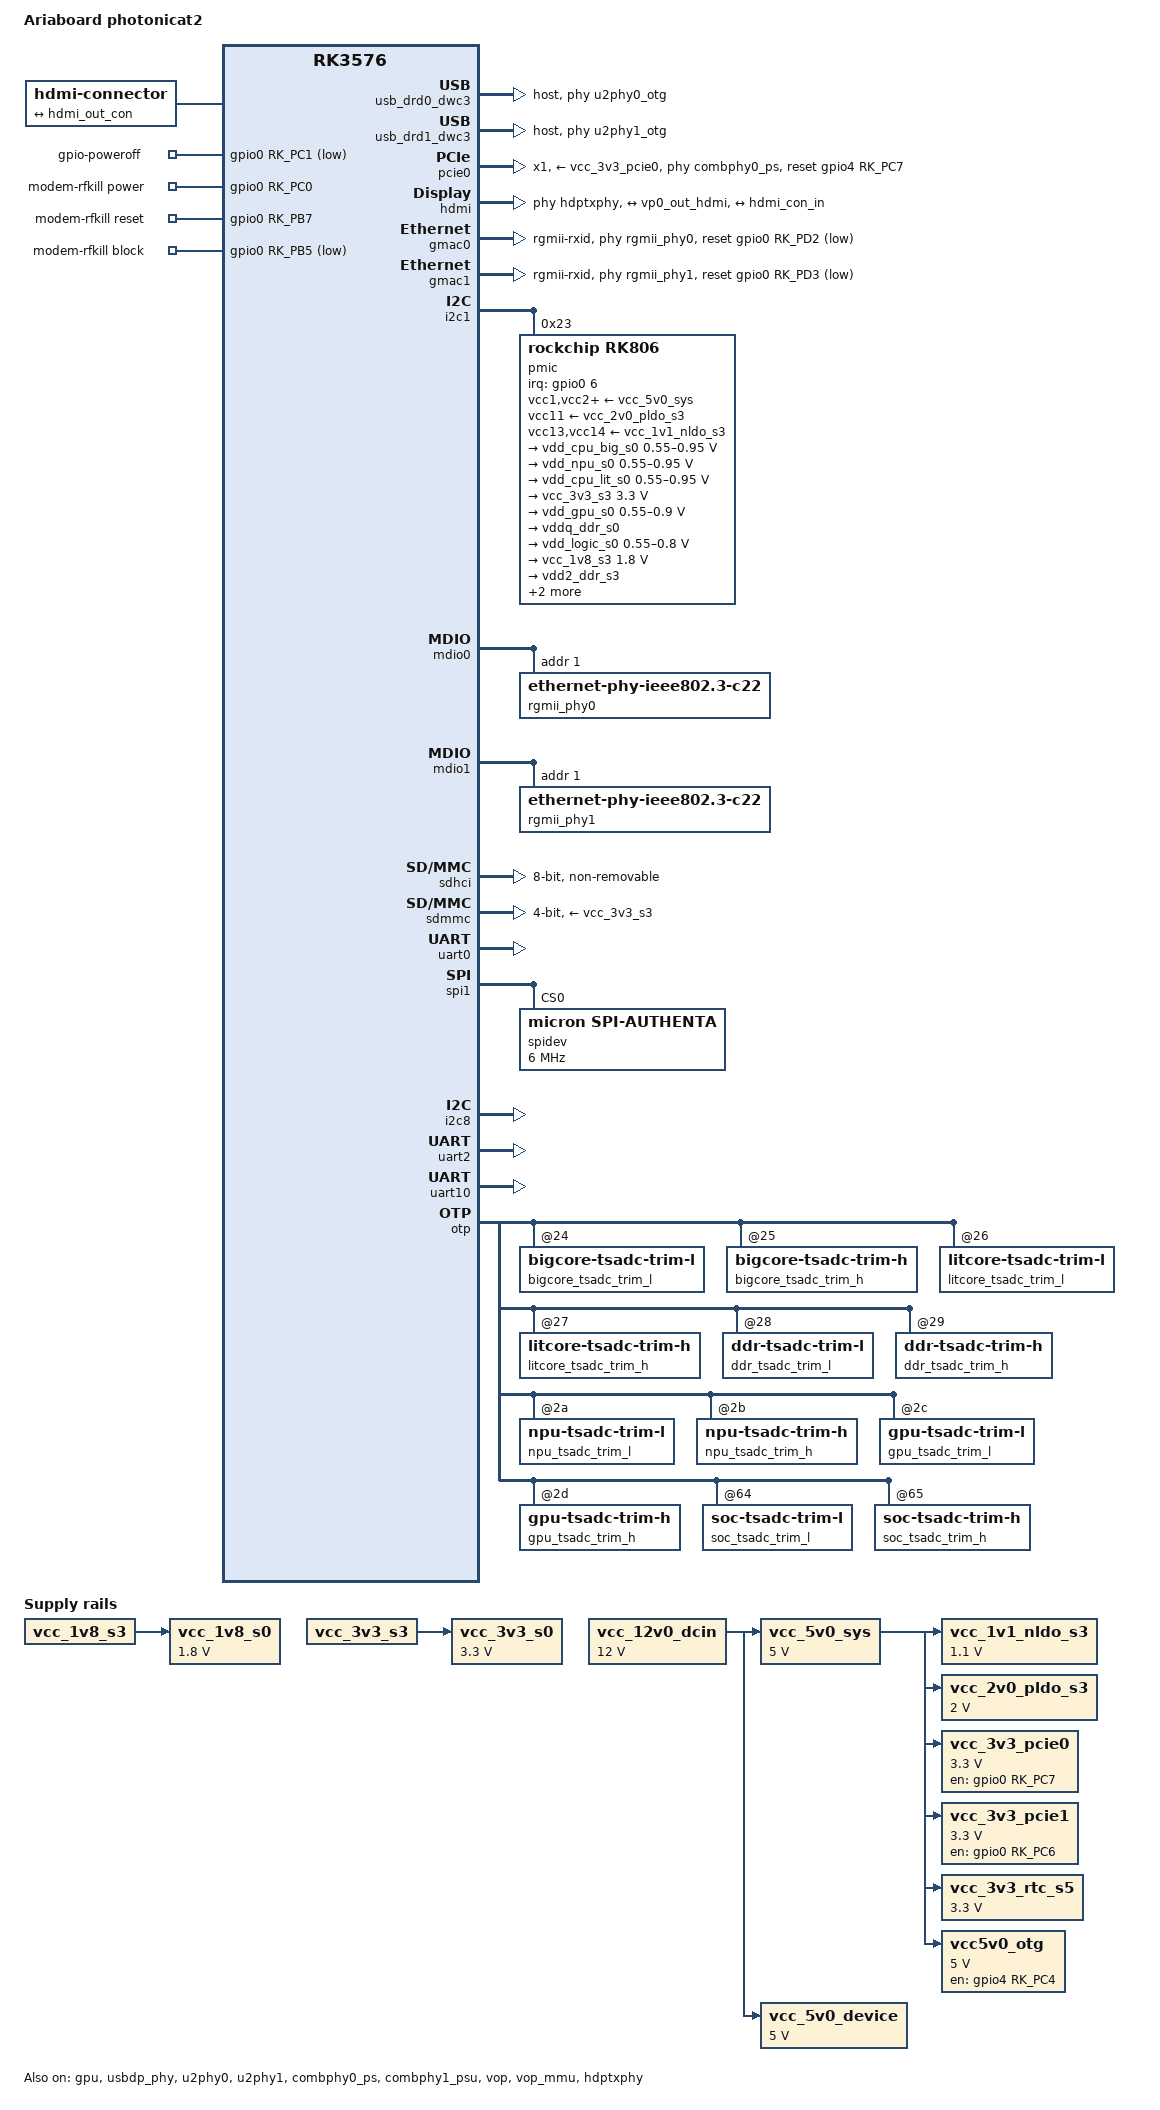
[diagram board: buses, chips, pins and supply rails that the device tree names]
// SPDX-License-Identifier: (GPL-2.0+ OR MIT)
/*
 * Copyright (c) 2024 Rockchip Electronics Co., Ltd.
 *
 */

/dts-v1/;

#include <dt-bindings/gpio/gpio.h>
#include <dt-bindings/leds/common.h>
#include <dt-bindings/pinctrl/rockchip.h>
#include <dt-bindings/pwm/pwm.h>
#include <dt-bindings/usb/pd.h>
#include <dt-bindings/thermal/thermal.h>
#include <dt-bindings/soc/rockchip,vop2.h>
#include "rk3576.dtsi"

/ {
	model = "Ariaboard photonicat2";
	compatible = "ariaboard,photonicat2", "rockchip,rk3576";

	aliases {
		ethernet0 = &gmac0;
		ethernet1 = &gmac1;
		mmc0 = &sdhci;
		mmc1 = &sdmmc;
	};

	chosen {
		stdout-path = "serial0:1500000n8";
	};

	vcc_12v0_dcin: regulator-vcc-12v0-dcin {
		compatible = "regulator-fixed";
		regulator-name = "vcc_12v0_dcin";
		regulator-always-on;
		regulator-boot-on;
		regulator-min-microvolt = <12000000>;
		regulator-max-microvolt = <12000000>;
	};

	vcc_1v1_nldo_s3: regulator-vcc-1v1-nldo-s3 {
		compatible = "regulator-fixed";
		regulator-name = "vcc_1v1_nldo_s3";
		regulator-boot-on;
		regulator-always-on;
		regulator-min-microvolt = <1100000>;
		regulator-max-microvolt = <1100000>;
		vin-supply = <&vcc_5v0_sys>;
	};

	vcc_1v8_s0: regulator-vcc-1v8-s0 {
		compatible = "regulator-fixed";
		regulator-name = "vcc_1v8_s0";
		regulator-boot-on;
		regulator-always-on;
		regulator-min-microvolt = <1800000>;
		regulator-max-microvolt = <1800000>;
		vin-supply = <&vcc_1v8_s3>;
	};

	vcc_2v0_pldo_s3: regulator-vcc-2v0-pldo-s3 {
		compatible = "regulator-fixed";
		regulator-name = "vcc_2v0_pldo_s3";
		regulator-boot-on;
		regulator-always-on;
		regulator-min-microvolt = <2000000>;
		regulator-max-microvolt = <2000000>;
		vin-supply = <&vcc_5v0_sys>;
	};

	vcc_3v3_pcie0: regulator-vcc-3v3-pcie0 {
		compatible = "regulator-fixed";
		regulator-name = "vcc_3v3_pcie0";
		regulator-min-microvolt = <3300000>;
		regulator-max-microvolt = <3300000>;
		enable-active-high;
		gpio = <&gpio0 RK_PC7 GPIO_ACTIVE_HIGH>;
		startup-delay-us = <5000>;
		vin-supply = <&vcc_5v0_sys>;
	};

	vcc_3v3_pcie1: regulator-vcc-3v3-pcie1 {
		compatible = "regulator-fixed";
		regulator-name = "vcc_3v3_pcie1";
		regulator-min-microvolt = <3300000>;
		regulator-max-microvolt = <3300000>;
		enable-active-high;
		gpio = <&gpio0 RK_PC6 GPIO_ACTIVE_HIGH>;
		startup-delay-us = <5000>;
		vin-supply = <&vcc_5v0_sys>;
        };

	vcc_3v3_rtc_s5: regulator-vcc-3v3-rtc-s5 {
		compatible = "regulator-fixed";
		regulator-name = "vcc_3v3_rtc_s5";
		regulator-boot-on;
		regulator-always-on;
		regulator-min-microvolt = <3300000>;
		regulator-max-microvolt = <3300000>;
		vin-supply = <&vcc_5v0_sys>;
	};

	vcc_3v3_s0: regulator-vcc-3v3-s0 {
		compatible = "regulator-fixed";
		regulator-name = "vcc_3v3_s0";
		regulator-boot-on;
		regulator-always-on;
		regulator-min-microvolt = <3300000>;
		regulator-max-microvolt = <3300000>;
		vin-supply = <&vcc_3v3_s3>;
	};

	vcc_5v0_sys: regulator-vcc-5v0-sys {
		compatible = "regulator-fixed";
		regulator-name = "vcc_5v0_sys";
		regulator-always-on;
		regulator-boot-on;
		regulator-min-microvolt = <5000000>;
		regulator-max-microvolt = <5000000>;
		vin-supply = <&vcc_12v0_dcin>;
	};

	vcc_5v0_device: regulator-vcc-5v0-device {
		compatible = "regulator-fixed";
		regulator-name = "vcc_5v0_device";
		regulator-always-on;
		regulator-boot-on;
		regulator-min-microvolt = <5000000>;
		regulator-max-microvolt = <5000000>;
		vin-supply = <&vcc_12v0_dcin>;
	};

	vcc5v0_otg: vcc5v0-otg {
		compatible = "regulator-fixed";
		regulator-name = "vcc5v0_otg";
		regulator-boot-on;
		regulator-always-on;
		regulator-min-microvolt = <5000000>;
		regulator-max-microvolt = <5000000>;
		enable-active-high;
		gpio = <&gpio4 RK_PC4 0>;
		vin-supply = <&vcc_5v0_sys>;
		pinctrl-names = "default";
		pinctrl-0 = <&usb_otg_pwren>;
        };

	thermal_zones: thermal-zones {
		/* sensor near the center of the SoC */
		package_thermal: package-thermal {
			polling-delay-passive = <0>;
			polling-delay = <0>;
			thermal-sensors = <&tsadc 0>;

			trips {
				package_crit: package-crit {
					temperature = <115000>;
					hysteresis = <0>;
					type = "critical";
				};
			};
		};

		/* sensor for cluster1 (big Cortex-A72 cores) */
		bigcore_thermal: bigcore-thermal {
			polling-delay-passive = <0>;
			polling-delay = <0>;
			thermal-sensors = <&tsadc 1>;

			trips {
				bigcore_alert: bigcore-alert {
					temperature = <85000>;
					hysteresis = <2000>;
					type = "passive";
				};

				bigcore_crit: bigcore-crit {
					temperature = <115000>;
					hysteresis = <0>;
					type = "critical";
				};
			};

			cooling-maps {
				map0 {
					trip = <&bigcore_alert>;
					cooling-device =
						<&cpu_b0 THERMAL_NO_LIMIT THERMAL_NO_LIMIT>,
						<&cpu_b1 THERMAL_NO_LIMIT THERMAL_NO_LIMIT>,
						<&cpu_b2 THERMAL_NO_LIMIT THERMAL_NO_LIMIT>,
						<&cpu_b3 THERMAL_NO_LIMIT THERMAL_NO_LIMIT>;
				};
			};
		};

		/* sensor for cluster0 (little Cortex-A53 cores) */
		littlecore_thermal: littlecore-thermal {
			polling-delay-passive = <0>;
			polling-delay = <0>;
			thermal-sensors = <&tsadc 2>;

			trips {
				littlecore_alert: littlecore-alert {
					temperature = <85000>;
					hysteresis = <2000>;
					type = "passive";
				};

				littlecore_crit: littlecore-crit {
					temperature = <115000>;
					hysteresis = <0>;
					type = "critical";
				};
			};

			cooling-maps {
				map0 {
					trip = <&littlecore_alert>;
					cooling-device =
						<&cpu_l0 THERMAL_NO_LIMIT THERMAL_NO_LIMIT>,
						<&cpu_l1 THERMAL_NO_LIMIT THERMAL_NO_LIMIT>,
						<&cpu_l2 THERMAL_NO_LIMIT THERMAL_NO_LIMIT>,
						<&cpu_l3 THERMAL_NO_LIMIT THERMAL_NO_LIMIT>;
				};
			};
		};

		gpu_thermal: gpu-thermal {
			polling-delay-passive = <0>;
			polling-delay = <0>;
			thermal-sensors = <&tsadc 3>;

			trips {
				gpu_alert: gpu-alert {
					temperature = <85000>;
					hysteresis = <2000>;
					type = "passive";
				};

				gpu_crit: gpu-crit {
					temperature = <115000>;
					hysteresis = <0>;
					type = "critical";
				};
			};

			cooling-maps {
				map0 {
					trip = <&gpu_alert>;
					cooling-device =
						<&gpu THERMAL_NO_LIMIT THERMAL_NO_LIMIT>;
				};
			};
		};

		npu_thermal: npu-thermal {
			polling-delay-passive = <0>;
			polling-delay = <0>;
			thermal-sensors = <&tsadc 4>;

			trips {
				npu_crit: npu-crit {
					temperature = <115000>;
					hysteresis = <0>;
					type = "critical";
				};
			};
		};

		ddr_thermal: ddr-thermal {
			polling-delay-passive = <0>;
			polling-delay = <0>;
			thermal-sensors = <&tsadc 5>;

			trips {
				ddr_crit: ddr-crit {
					temperature = <115000>;
					hysteresis = <0>;
					type = "critical";
				};
			};
		};
	};

	display_subsystem: display-subsystem {
		compatible = "rockchip,display-subsystem";
		ports = <&vop_out>;
	};

	hdmi-con {
		compatible = "hdmi-connector";
		type = "a";

		port {
			hdmi_con_in: endpoint {
				remote-endpoint = <&hdmi_out_con>;
			};
		};
	};

	gpio-poweroff {
		compatible = "gpio-poweroff";
		gpios = <&gpio0 RK_PC1 GPIO_ACTIVE_LOW>;
		timeout-ms = <3000>;
	};

	modem-rfkill {
		compatible = "rfkill-gpio-neo";
		name = "modem-rfkill";
		type = "wwan";
		power-gpio = <&gpio0 RK_PC0 GPIO_ACTIVE_HIGH>;
		reset-gpio = <&gpio0 RK_PB7 GPIO_ACTIVE_HIGH>;
		block-gpio = <&gpio0 RK_PB5 GPIO_ACTIVE_LOW>;
		power-on-wait-time = <500>;
		reset-wait-time = <0>;
		reset-active-time = <800>;
        };

	soc {
		vo1_grf: syscon@26036000 {
			compatible = "rockchip,rk3576-vo-grf", "syscon";
			reg = <0x0 0x26036000 0x0 0x100>;
			clocks = <&cru PCLK_VO1_ROOT>;
		};
		
		hdptxphy_grf: syscon@26032000 {
			compatible = "rockchip,rk3576-hdptxphy-grf", "syscon";
			reg = <0x0 0x26032000 0x0 0x100>;
			clocks = <&cru PCLK_PMUPHY_ROOT>;
		};

		usbdp_phy: phy@2b010000 {
			compatible = "rockchip,rk3576-usbdp-phy";
			reg = <0x0 0x2b010000 0x0 0x10000>;
			#phy-cells = <1>;
			clocks = <&cru CLK_PHY_REF_SRC >,
				 <&cru CLK_USBDP_COMBO_PHY_IMMORTAL>,
				 <&cru PCLK_USBDPPHY>,
				 <&u2phy0>;
			clock-names = "refclk", "immortal", "pclk", "utmi";
			resets = <&cru SRST_USBDP_COMBO_PHY_INIT>,
				 <&cru SRST_USBDP_COMBO_PHY_CMN>,
				 <&cru SRST_USBDP_COMBO_PHY_LANE>,
				 <&cru SRST_USBDP_COMBO_PHY_PCS>,
				 <&cru SRST_P_USBDPPHY>;
			reset-names = "init", "cmn", "lane", "pcs_apb", "pma_apb";
			rockchip,u2phy-grf = <&usb2phy_grf>;
			rockchip,usb-grf = <&usb_grf>;
			rockchip,usbdpphy-grf = <&usbdpphy_grf>;
			rockchip,vo-grf = <&vo1_grf>;
			status = "disabled";
		};	

		usb2phy_grf: syscon@2602e000 {
			compatible = "rockchip,rk3576-usb2phy-grf", "syscon", "simple-mfd";
			reg = <0x0 0x2602e000 0x0 0x4000>;
			#address-cells = <1>;
			#size-cells = <1>;
			clocks = <&cru PCLK_PMUPHY_ROOT>;

			u2phy0: usb2-phy@0 {
				compatible = "rockchip,rk3576-usb2phy";
				reg = <0x0 0x10>;
				resets = <&cru SRST_OTGPHY_0>, <&cru SRST_P_USBPHY_GRF_0>;
				reset-names = "phy", "apb";
				clocks = <&cru CLK_PHY_REF_SRC>, <&cru ACLK_MMU2>, <&cru ACLK_SLV_MMU2>;
				clock-names = "phyclk", "aclk", "aclk_slv";
				clock-output-names = "usb480m_phy0";
				#clock-cells = <0>;
				rockchip,usbctrl-grf = <&usb_grf>;
				status = "disabled";

				u2phy0_otg: otg-port {
					#phy-cells = <0>;
					interrupts = <GIC_SPI 350 IRQ_TYPE_LEVEL_HIGH>,
						     <GIC_SPI 351 IRQ_TYPE_LEVEL_HIGH>,
						     <GIC_SPI 352 IRQ_TYPE_LEVEL_HIGH>;
					interrupt-names = "otg-bvalid", "otg-id", "linestate";
					status = "disabled";
				};
			};

			u2phy1: usb2-phy@2000 {
				compatible = "rockchip,rk3576-usb2phy";
				reg = <0x2000 0x10>;
				resets = <&cru SRST_OTGPHY_1>, <&cru SRST_P_USBPHY_GRF_1>;
				reset-names = "phy", "apb";
				clocks = <&cru CLK_PHY_REF_SRC>, <&cru ACLK_MMU1>, <&cru ACLK_SLV_MMU1>;
				clock-names = "phyclk", "aclk", "aclk_slv";
				clock-output-names = "usb480m_phy1";
				#clock-cells = <0>;
				rockchip,usbctrl-grf = <&php_grf>;
				status = "disabled";

				u2phy1_otg: otg-port {
					#phy-cells = <0>;
					interrupts = <GIC_SPI 354 IRQ_TYPE_LEVEL_HIGH>,
						     <GIC_SPI 355 IRQ_TYPE_LEVEL_HIGH>,
						     <GIC_SPI 356 IRQ_TYPE_LEVEL_HIGH>;
					interrupt-names = "otg-bvalid", "otg-id", "linestate";
					status = "disabled";
				};
			};
		};

		usb_drd0_dwc3: usb@23000000 {
			compatible = "rockchip,rk3576-dwc3", "snps,dwc3";
			reg = <0x0 0x23000000 0x0 0x400000>;
			clocks = <&cru CLK_REF_USB3OTG0>,
				 <&cru CLK_SUSPEND_USB3OTG0>,
				 <&cru ACLK_USB3OTG0>;
			clock-names = "ref", "suspend", "bus_clk";
			interrupts = <GIC_SPI 261 IRQ_TYPE_LEVEL_HIGH>;
			power-domains = <&power RK3576_PD_USB>;
			resets = <&cru SRST_A_USB3OTG0>;
			reset-names = "usb3-otg";
			dr_mode = "otg";
			phys = <&u2phy0_otg>, <&usbdp_phy PHY_TYPE_USB3>;
			phy-names = "usb2-phy", "usb3-phy";
			phy_type = "utmi_wide";
			snps,dis_enblslpm_quirk;
			snps,dis-u1-entry-quirk;
			snps,dis-u2-entry-quirk;
			snps,dis-u2-freeclk-exists-quirk;
			snps,dis-del-phy-power-chg-quirk;
			snps,dis-tx-ipgap-linecheck-quirk;
			snps,parkmode-disable-hs-quirk;
			snps,parkmode-disable-ss-quirk;
			status = "disabled";
		};

		usb_drd1_dwc3: usb@23400000 {
			compatible = "rockchip,rk3576-dwc3", "snps,dwc3";
			reg = <0x0 0x23400000 0x0 0x400000>;
			clocks = <&cru CLK_REF_USB3OTG1>,
				 <&cru CLK_SUSPEND_USB3OTG1>,
				 <&cru ACLK_USB3OTG1>;
			clock-names = "ref", "suspend", "bus_clk";
			interrupts = <GIC_SPI 260 IRQ_TYPE_LEVEL_HIGH>;
			power-domains = <&power RK3576_PD_PHP>;
			resets = <&cru SRST_A_USB3OTG1>;
			reset-names = "usb3-otg";
			dr_mode = "otg";
			phys = <&u2phy1_otg>, <&combphy1_psu PHY_TYPE_USB3>;
			phy-names = "usb2-phy", "usb3-phy";
			phy_type = "utmi_wide";
			snps,dis_enblslpm_quirk;
			snps,dis-u1-entry-quirk;
			snps,dis-u2-entry-quirk;
			snps,dis-u2-freeclk-exists-quirk;
			snps,dis-del-phy-power-chg-quirk;
			snps,dis-tx-ipgap-linecheck-quirk;
			snps,dis_rxdet_inp3_quirk;
			snps,parkmode-disable-hs-quirk;
			snps,parkmode-disable-ss-quirk;
			dma-coherent;
			status = "disabled";
		};	

		combphy0_ps: phy@2b050000 {
			compatible = "rockchip,rk3576-naneng-combphy";
			reg = <0x0 0x2b050000 0x0 0x100>;
			#phy-cells = <1>;
			clocks = <&cru CLK_REF_PCIE0_PHY>,
				 <&cru PCLK_PCIE2_COMBOPHY0>,
				 <&cru PCLK_PCIE0>;
			clock-names = "ref", "apb", "pipe";
			assigned-clocks = <&cru CLK_REF_PCIE0_PHY>;
			assigned-clock-rates = <100000000>;
			resets = <&cru SRST_PCIE0_PIPE_PHY>,
				 <&cru SRST_P_PCIE2_COMBOPHY0>;
			reset-names = "phy", "apb";
			rockchip,pipe-grf = <&php_grf>;
			rockchip,pipe-phy-grf = <&pipe_phy0_grf>;
			status = "disabled";
		};

		combphy1_psu: phy@2b060000 {
			compatible = "rockchip,rk3576-naneng-combphy";
			reg = <0x0 0x2b060000 0x0 0x100>;
			#phy-cells = <1>;
			clocks = <&cru CLK_REF_PCIE1_PHY>,
				 <&cru PCLK_PCIE2_COMBOPHY1>,
				 <&cru PCLK_PCIE1>;
			clock-names = "ref", "apb", "pipe";
			assigned-clocks = <&cru CLK_REF_PCIE1_PHY>;
			assigned-clock-rates = <100000000>;
			resets = <&cru SRST_PCIE1_PIPE_PHY>,
				 <&cru SRST_P_PCIE2_COMBOPHY1>;
			reset-names = "phy", "apb";
			rockchip,pipe-grf = <&php_grf>;
			rockchip,pipe-phy-grf = <&pipe_phy1_grf>;
			status = "disabled";
		};

		pcie0: pcie@2a200000 {
			compatible = "rockchip,rk3576-pcie", "snps,dw-pcie";
			#address-cells = <3>;
			#size-cells = <2>;
			bus-range = <0x0 0xf>;
			clocks = <&cru ACLK_PCIE0_MST>, <&cru ACLK_PCIE0_SLV>,
				 <&cru ACLK_PCIE0_DBI>, <&cru PCLK_PCIE0>,
				 <&cru CLK_PCIE0_AUX>;

			clock-names = "aclk_mst", "aclk_slv",
				      "aclk_dbi", "pclk",
				      "aux";
			device_type = "pci";
			interrupts = <GIC_SPI 283 IRQ_TYPE_LEVEL_HIGH>,
				     <GIC_SPI 281 IRQ_TYPE_LEVEL_HIGH>,
				     <GIC_SPI 282 IRQ_TYPE_LEVEL_HIGH>,
				     <GIC_SPI 279 IRQ_TYPE_LEVEL_HIGH>,
				     <GIC_SPI 280 IRQ_TYPE_LEVEL_HIGH>,
				     <GIC_SPI 278 IRQ_TYPE_LEVEL_HIGH>;
			interrupt-names = "msi", "sys", "pmc", "msg", "legacy", "err";
			#interrupt-cells = <1>;
			interrupt-map-mask = <0 0 0 7>;
			interrupt-map = <0 0 0 1 &pcie0_intc 0>,
					<0 0 0 2 &pcie0_intc 1>,
					<0 0 0 3 &pcie0_intc 2>,
					<0 0 0 4 &pcie0_intc 3>;
			linux,pci-domain = <0>;
			num-ib-windows = <8>;
			num-viewport = <8>;
			num-ob-windows = <2>;
			max-link-speed = <2>;
			num-lanes = <1>;
			phys = <&combphy0_ps PHY_TYPE_PCIE>;
			phy-names = "pcie-phy";
			power-domains = <&power RK3576_PD_PHP>;
			ranges = <0x00000800 0x0 0x20000000 0x0 0x20000000 0x0 0x00100000
				  0x81000000 0x0 0x20100000 0x0 0x20100000 0x0 0x00100000
				  0x82000000 0x0 0x20200000 0x0 0x20200000 0x0 0x00e00000
				  0xc3000000 0x9 0x00000000 0x9 0x00000000 0x0 0x80000000>;
			reg = <0x0 0x2a200000 0x0 0x00010000>,
			      <0x0 0x22000000 0x0 0x00400000>,
			      <0x0 0x20000000 0x0 0x00100000>;
			reg-names = "pcie-apb", "pcie-dbi", "config";
			resets = <&cru SRST_PCIE0_POWER_UP>, <&cru SRST_P_PCIE0>;
			reset-names = "pipe", "p_pcie0";
			dma-coherent;
			status = "disabled";

			pcie0_intc: legacy-interrupt-controller {
				interrupt-controller;
				#address-cells = <0>;
				#interrupt-cells = <1>;
				interrupt-parent = <&gic>;
				interrupts = <GIC_SPI 280 IRQ_TYPE_EDGE_RISING>;
			};
		};
		
		vop: vop@27d00000 {
			compatible = "rockchip,rk3576-vop";
			reg = <0x0 0x27d00000 0x0 0x3000>, <0x0 0x27d05000 0x0 0x1000>;
			reg-names = "vop", "gamma-lut";
			interrupts = <GIC_SPI 342 IRQ_TYPE_LEVEL_HIGH>,
				     <GIC_SPI 379 IRQ_TYPE_LEVEL_HIGH>,
				     <GIC_SPI 380 IRQ_TYPE_LEVEL_HIGH>,
				     <GIC_SPI 381 IRQ_TYPE_LEVEL_HIGH>;
			interrupt-names = "vop-sys",
					  "vop-vp0",
					  "vop-vp1",
					  "vop-vp2";
			clocks = <&cru ACLK_VOP>,
				 <&cru HCLK_VOP>,
				 <&cru DCLK_VP0>,
				 <&cru DCLK_VP1>,
				 <&cru DCLK_VP2>,
				 <&hdptxphy>;
			clock-names = "aclk",
				      "hclk",
				      "dclk_vp0",
				      "dclk_vp1",
				      "dclk_vp2",
				      "pll_hdmiphy0";
			iommus = <&vop_mmu>;
			power-domains = <&power RK3576_PD_VOP>;
			rockchip,grf = <&sys_grf>;
			rockchip,pmu = <&pmu>;
			status = "disabled";

			vop_out: ports {
				#address-cells = <1>;
				#size-cells = <0>;

				vp0: port@0 {
					#address-cells = <1>;
					#size-cells = <0>;
					reg = <0>;
				};

				vp1: port@1 {
					#address-cells = <1>;
					#size-cells = <0>;
					reg = <1>;
				};

				vp2: port@2 {
					#address-cells = <1>;
					#size-cells = <0>;
					reg = <2>;
				};
			};
		};

		vop_mmu: iommu@27d07e00 {
			compatible = "rockchip,rk3576-iommu", "rockchip,rk3568-iommu";
			reg = <0x0 0x27d07e00 0x0 0x100>, <0x0 0x27d07f00 0x0 0x100>;
			interrupts = <GIC_SPI 342 IRQ_TYPE_LEVEL_HIGH>;
			interrupt-names = "vop_mmu";
			clocks = <&cru ACLK_VOP>, <&cru HCLK_VOP>;
			clock-names = "aclk", "iface";
			#iommu-cells = <0>;
			power-domains = <&power RK3576_PD_VOP>;
			status = "disabled";
		};

		hdmi: hdmi@27da0000 {
			compatible = "rockchip,rk3576-dw-hdmi-qp";
			reg = <0x0 0x27da0000 0x0 0x20000>;
			clocks = <&cru PCLK_HDMITX0>,
				 <&cru CLK_HDMITX0_EARC>,
				 <&cru CLK_HDMITX0_REF>,
				 <&cru MCLK_SAI6_8CH>,
				 <&cru CLK_HDMITXHDP>,
				 <&cru HCLK_VO0_ROOT>;
			clock-names = "pclk", "earc", "ref", "aud", "hdp", "hclk_vo1";
			interrupts = <GIC_SPI 338 IRQ_TYPE_LEVEL_HIGH>,
				     <GIC_SPI 339 IRQ_TYPE_LEVEL_HIGH>,
				     <GIC_SPI 340 IRQ_TYPE_LEVEL_HIGH>,
				     <GIC_SPI 341 IRQ_TYPE_LEVEL_HIGH>,
				     <GIC_SPI 367 IRQ_TYPE_LEVEL_HIGH>;
			interrupt-names = "avp", "cec", "earc", "main", "hpd";
			phys = <&hdptxphy>;
			phy-names = "hdmi";
			pinctrl-names = "default";
			pinctrl-0 = <&hdmi_txm0_pins &hdmi_tx_scl &hdmi_tx_sda>;
			power-domains = <&power RK3576_PD_VO0>;
			resets = <&cru SRST_HDMITX0_REF>, <&cru SRST_HDMITXHDP>;
			reset-names = "ref", "hdp";
			rockchip,grf = <&ioc_grf>;
			rockchip,vo-grf = <&vo0_grf>;
			status = "disabled";

			ports {
				#address-cells = <1>;
				#size-cells = <0>;

				hdmi_in: port@0 {
					reg = <0>;
				};

				hdmi_out: port@1 {
					reg = <1>;
				};
			};
		};

		hdptxphy: hdmiphy@2b000000 {
			compatible = "rockchip,rk3576-hdptx-phy", "rockchip,rk3588-hdptx-phy";
			reg = <0x0 0x2b000000 0x0 0x2000>;
			clocks = <&cru CLK_PHY_REF_SRC>, <&cru PCLK_HDPTX_APB>;
			clock-names = "ref", "apb";
			#clock-cells = <0>;
			resets = <&cru SRST_P_HDPTX_APB>, <&cru SRST_HDPTX_INIT>,
				 <&cru SRST_HDPTX_CMN>, <&cru SRST_HDPTX_LANE>;
			reset-names = "apb", "init", "cmn", "lane";
			rockchip,grf = <&hdptxphy_grf>;
			#phy-cells = <0>;
			status = "disabled";
		};
		
		tsadc: tsadc@2ae70000 {
			compatible = "rockchip,rk3576-tsadc";
			reg = <0x0 0x2ae70000 0x0 0x400>;
			interrupts = <GIC_SPI 123 IRQ_TYPE_LEVEL_HIGH>;
			clocks = <&cru CLK_TSADC>, <&cru PCLK_TSADC>;
			clock-names = "tsadc", "apb_pclk";
			assigned-clocks = <&cru CLK_TSADC>;
			assigned-clock-rates = <2000000>;
			resets = <&cru SRST_P_TSADC>, <&cru SRST_TSADC>;
			reset-names = "tsadc-apb", "tsadc";
			#thermal-sensor-cells = <1>;
			rockchip,hw-tshut-temp = <120000>;
			rockchip,hw-tshut-mode = <0>; /* tshut mode 0:CRU 1:GPIO */
			rockchip,hw-tshut-polarity = <0>; /* tshut polarity 0:LOW 1:HIGH */
			#address-cells = <1>;
			#size-cells = <0>;

			tsadc@0 {
				reg = <0>;
				nvmem-cells = <&soc_tsadc_trim_l>, <&soc_tsadc_trim_h>;
				nvmem-cell-names = "trim_l", "trim_h";
			};
			tsadc@1 {
				reg = <1>;
				nvmem-cells = <&bigcore_tsadc_trim_l>, <&bigcore_tsadc_trim_h>;
				nvmem-cell-names = "trim_l", "trim_h";
			};
			tsadc@2 {
				reg = <2>;
				nvmem-cells = <&litcore_tsadc_trim_l>, <&litcore_tsadc_trim_h>;
				nvmem-cell-names = "trim_l", "trim_h";
			};
			tsadc@3 {
				reg = <3>;
				nvmem-cells = <&ddr_tsadc_trim_l>, <&ddr_tsadc_trim_h>;
				nvmem-cell-names = "trim_l", "trim_h";
			};
			tsadc@4 {
				reg = <4>;
				nvmem-cells = <&npu_tsadc_trim_l>, <&npu_tsadc_trim_h>;
				nvmem-cell-names = "trim_l", "trim_h";
			};
			tsadc@5 {
				reg = <5>;
				nvmem-cells = <&gpu_tsadc_trim_l>, <&gpu_tsadc_trim_h>;
				nvmem-cell-names = "trim_l", "trim_h";
			};
		};
	};
};

&cpu_l0 {
	cpu-supply = <&vdd_cpu_lit_s0>;
};

&cpu_l1 {
	#cooling-cells = <2>;
};

&cpu_l2 {
	#cooling-cells = <2>;
};

&cpu_l3 {
	#cooling-cells = <2>;
};

&cpu_b0 {
	cpu-supply = <&vdd_cpu_big_s0>;
};

&cpu_b1 {
	#cooling-cells = <2>;
};

&cpu_b2 {
	#cooling-cells = <2>;
};

&cpu_b3 {
	#cooling-cells = <2>;
};

&gmac0 {
	phy-mode = "rgmii-rxid";
	clock_in_out = "output";

	snps,reset-gpio = <&gpio0 RK_PD2 GPIO_ACTIVE_LOW>;
	snps,reset-active-low;
	snps,reset-delays-us = <0 20000 100000>;

	pinctrl-names = "default";
	pinctrl-0 = <&eth0m1_miim
		     &eth0m1_tx_bus2
		     &eth0m1_rx_bus2
		     &eth0m1_rgmii_clk
		     &eth0m1_rgmii_bus
		     &ethm1_clk0_25m_out>;

	tx_delay = <0x20>;
	/* rx_delay = <0x3f>; */

	phy-handle = <&rgmii_phy0>;
	status = "okay";
};

&gmac1 {
	phy-mode = "rgmii-rxid";
	clock_in_out = "output";

	snps,reset-gpio = <&gpio0 RK_PD3 GPIO_ACTIVE_LOW>;
	snps,reset-active-low;
	snps,reset-delays-us = <0 20000 100000>;

	pinctrl-names = "default";
	pinctrl-0 = <&eth1m0_miim
		     &eth1m0_tx_bus2
		     &eth1m0_rx_bus2
		     &eth1m0_rgmii_clk
		     &eth1m0_rgmii_bus
		     &ethm0_clk1_25m_out>;

	tx_delay = <0x20>;
	/* rx_delay = <0x3f>; */

	phy-handle = <&rgmii_phy1>;
	status = "okay";
};

&gpu {
	mali-supply = <&vdd_gpu_s0>;
	status = "okay";
};

&i2c1 {
	status = "okay";

	pmic@23 {
		compatible = "rockchip,rk806";
		reg = <0x23>;

		interrupt-parent = <&gpio0>;
		interrupts = <6 IRQ_TYPE_LEVEL_LOW>;

		pinctrl-names = "default";
		pinctrl-0 = <&pmic_pins>, <&rk806_dvs1_null>,
			    <&rk806_dvs2_null>, <&rk806_dvs3_null>;

		system-power-controller;

		vcc1-supply = <&vcc_5v0_sys>;
		vcc2-supply = <&vcc_5v0_sys>;
		vcc3-supply = <&vcc_5v0_sys>;
		vcc4-supply = <&vcc_5v0_sys>;
		vcc5-supply = <&vcc_5v0_sys>;
		vcc6-supply = <&vcc_5v0_sys>;
		vcc7-supply = <&vcc_5v0_sys>;
		vcc8-supply = <&vcc_5v0_sys>;
		vcc9-supply = <&vcc_5v0_sys>;
		vcc10-supply = <&vcc_5v0_sys>;
		vcc11-supply = <&vcc_2v0_pldo_s3>;
		vcc12-supply = <&vcc_5v0_sys>;
		vcc13-supply = <&vcc_1v1_nldo_s3>;
		vcc14-supply = <&vcc_1v1_nldo_s3>;
		vcca-supply = <&vcc_5v0_sys>;

		gpio-controller;
		#gpio-cells = <2>;

		rk806_dvs1_null: dvs1-null-pins {
			pins = "gpio_pwrctrl1";
			function = "pin_fun0";
		};

		rk806_dvs2_null: dvs2-null-pins {
			pins = "gpio_pwrctrl2";
			function = "pin_fun0";
		};

		rk806_dvs3_null: dvs3-null-pins {
			pins = "gpio_pwrctrl3";
			function = "pin_fun0";
		};

		rk806_dvs1_slp: dvs1-slp-pins {
			pins = "gpio_pwrctrl1";
			function = "pin_fun1";
		};

		rk806_dvs1_pwrdn: dvs1-pwrdn-pins {
			pins = "gpio_pwrctrl1";
			function = "pin_fun2";
		};

		rk806_dvs1_rst: dvs1-rst-pins {
			pins = "gpio_pwrctrl1";
			function = "pin_fun3";
		};

		rk806_dvs2_slp: dvs2-slp-pins {
			pins = "gpio_pwrctrl2";
			function = "pin_fun1";
		};

		rk806_dvs2_pwrdn: dvs2-pwrdn-pins {
			pins = "gpio_pwrctrl2";
			function = "pin_fun2";
		};

		rk806_dvs2_rst: dvs2-rst-pins {
			pins = "gpio_pwrctrl2";
			function = "pin_fun3";
		};

		rk806_dvs2_dvs: dvs2-dvs-pins {
			pins = "gpio_pwrctrl2";
			function = "pin_fun4";
		};

		rk806_dvs2_gpio: dvs2-gpio-pins {
			pins = "gpio_pwrctrl2";
			function = "pin_fun5";
		};

		rk806_dvs3_slp: dvs3-slp-pins {
			pins = "gpio_pwrctrl3";
			function = "pin_fun1";
		};

		rk806_dvs3_pwrdn: dvs3-pwrdn-pins {
			pins = "gpio_pwrctrl3";
			function = "pin_fun2";
		};

		rk806_dvs3_rst: dvs3-rst-pins {
			pins = "gpio_pwrctrl3";
			function = "pin_fun3";
		};

		rk806_dvs3_dvs: dvs3-dvs-pins {
			pins = "gpio_pwrctrl3";
			function = "pin_fun4";
		};

		rk806_dvs3_gpio: dvs3-gpio-pins {
			pins = "gpio_pwrctrl3";
			function = "pin_fun5";
		};

		regulators {
			vdd_cpu_big_s0: dcdc-reg1 {
				regulator-always-on;
				regulator-boot-on;
				regulator-min-microvolt = <550000>;
				regulator-max-microvolt = <950000>;
				regulator-ramp-delay = <12500>;
				regulator-name = "vdd_cpu_big_s0";
				regulator-enable-ramp-delay = <400>;
				regulator-state-mem {
					regulator-off-in-suspend;
				};
			};

			vdd_npu_s0: dcdc-reg2 {
				regulator-boot-on;
				regulator-min-microvolt = <550000>;
				regulator-max-microvolt = <950000>;
				regulator-ramp-delay = <12500>;
				regulator-name = "vdd_npu_s0";
				regulator-enable-ramp-delay = <400>;
				regulator-state-mem {
					regulator-off-in-suspend;
				};
			};

			vdd_cpu_lit_s0: dcdc-reg3 {
				regulator-always-on;
				regulator-boot-on;
				regulator-min-microvolt = <550000>;
				regulator-max-microvolt = <950000>;
				regulator-ramp-delay = <12500>;
				regulator-name = "vdd_cpu_lit_s0";
				regulator-state-mem {
					regulator-off-in-suspend;
					regulator-suspend-microvolt = <750000>;
				};
			};

			vcc_3v3_s3: dcdc-reg4 {
				regulator-always-on;
				regulator-boot-on;
				regulator-min-microvolt = <3300000>;
				regulator-max-microvolt = <3300000>;
				regulator-name = "vcc_3v3_s3";
				regulator-state-mem {
					regulator-on-in-suspend;
					regulator-suspend-microvolt = <3300000>;
				};
			};

			vdd_gpu_s0: dcdc-reg5 {
				regulator-boot-on;
				regulator-min-microvolt = <550000>;
				regulator-max-microvolt = <900000>;
				regulator-ramp-delay = <12500>;
				regulator-name = "vdd_gpu_s0";
				regulator-enable-ramp-delay = <400>;
				regulator-state-mem {
					regulator-off-in-suspend;
					regulator-suspend-microvolt = <850000>;
				};
			};

			vddq_ddr_s0: dcdc-reg6 {
				regulator-always-on;
				regulator-boot-on;
				regulator-name = "vddq_ddr_s0";
				regulator-state-mem {
					regulator-off-in-suspend;
				};
			};

			vdd_logic_s0: dcdc-reg7 {
				regulator-always-on;
				regulator-boot-on;
				regulator-min-microvolt = <550000>;
				regulator-max-microvolt = <800000>;
				regulator-name = "vdd_logic_s0";
				regulator-state-mem {
					regulator-off-in-suspend;
				};
			};

			vcc_1v8_s3: dcdc-reg8 {
				regulator-always-on;
				regulator-boot-on;
				regulator-min-microvolt = <1800000>;
				regulator-max-microvolt = <1800000>;
				regulator-name = "vcc_1v8_s3";
				regulator-state-mem {
					regulator-on-in-suspend;
					regulator-suspend-microvolt = <1800000>;
				};
			};

			vdd2_ddr_s3: dcdc-reg9 {
				regulator-always-on;
				regulator-boot-on;
				regulator-name = "vdd2_ddr_s3";
				regulator-state-mem {
					regulator-on-in-suspend;
				};
			};

			vdd_ddr_s0: dcdc-reg10 {
				regulator-always-on;
				regulator-boot-on;
				regulator-min-microvolt = <550000>;
				regulator-max-microvolt = <1200000>;
				regulator-name = "vdd_ddr_s0";
				regulator-state-mem {
					regulator-off-in-suspend;
				};
			};

			vcca_1v8_s0: pldo-reg1 {
				regulator-always-on;
				regulator-boot-on;
				regulator-min-microvolt = <1800000>;
				regulator-max-microvolt = <1800000>;
				regulator-name = "vcca_1v8_s0";
				regulator-state-mem {
					regulator-off-in-suspend;
				};
			};

			vcca1v8_pldo2_s0: pldo-reg2 {
				regulator-always-on;
				regulator-boot-on;
				regulator-min-microvolt = <1800000>;
				regulator-max-microvolt = <1800000>;
				regulator-name = "vcca1v8_pldo2_s0";
				regulator-state-mem {
					regulator-off-in-suspend;
				};
			};

			vdda_1v2_s0: pldo-reg3 {
				regulator-always-on;
				regulator-boot-on;
				regulator-min-microvolt = <1200000>;
				regulator-max-microvolt = <1200000>;
				regulator-name = "vdda_1v2_s0";
				regulator-state-mem {
					regulator-off-in-suspend;
				};
			};

			vcca_3v3_s0: pldo-reg4 {
				regulator-always-on;
				regulator-boot-on;
				regulator-min-microvolt = <3300000>;
				regulator-max-microvolt = <3300000>;
				regulator-name = "vcca_3v3_s0";
				regulator-state-mem {
					regulator-off-in-suspend;
				};
			};

			vccio_sd_s0: pldo-reg5 {
				regulator-always-on;
				regulator-boot-on;
				regulator-min-microvolt = <1800000>;
				regulator-max-microvolt = <3300000>;
				regulator-name = "vccio_sd_s0";
				regulator-state-mem {
					regulator-off-in-suspend;
				};
			};

			vcca1v8_pldo6_s3: pldo-reg6 {
				regulator-always-on;
				regulator-boot-on;
				regulator-min-microvolt = <1800000>;
				regulator-max-microvolt = <1800000>;
				regulator-name = "vcca1v8_pldo6_s3";
				regulator-state-mem {
					regulator-on-in-suspend;
					regulator-suspend-microvolt = <1800000>;
				};
			};

			vdd_0v75_s3: nldo-reg1 {
				regulator-always-on;
				regulator-boot-on;
				regulator-min-microvolt = <750000>;
				regulator-max-microvolt = <750000>;
				regulator-name = "vdd_0v75_s3";
				regulator-state-mem {
					regulator-on-in-suspend;
					regulator-suspend-microvolt = <750000>;
				};
			};

			vdda_ddr_pll_s0: nldo-reg2 {
				regulator-always-on;
				regulator-boot-on;
				regulator-min-microvolt = <850000>;
				regulator-max-microvolt = <850000>;
				regulator-name = "vdda_ddr_pll_s0";
				regulator-state-mem {
					regulator-off-in-suspend;
				};
			};

			vdda0v75_hdmi_s0: nldo-reg3 {
				regulator-always-on;
				regulator-boot-on;
				regulator-min-microvolt = <837500>;
				regulator-max-microvolt = <837500>;
				regulator-name = "vdda0v75_hdmi_s0";
				regulator-state-mem {
					regulator-off-in-suspend;
				};
			};

			vdda_0v85_s0: nldo-reg4 {
				regulator-always-on;
				regulator-boot-on;
				regulator-min-microvolt = <850000>;
				regulator-max-microvolt = <850000>;
				regulator-name = "vdda_0v85_s0";
				regulator-state-mem {
					regulator-off-in-suspend;
				};
			};

			vdda_0v75_s0: nldo-reg5 {
				regulator-always-on;
				regulator-boot-on;
				regulator-min-microvolt = <750000>;
				regulator-max-microvolt = <750000>;
				regulator-name = "vdda_0v75_s0";
				regulator-state-mem {
					regulator-off-in-suspend;
				};
			};
		};
	};
};

&i2c2 {
	status = "disabled";
};

&mdio0 {
	rgmii_phy0: phy@1 {
		compatible = "ethernet-phy-ieee802.3-c22";
		reg = <0x1>;
		clocks = <&cru REFCLKO25M_GMAC0_OUT>;
		realtek,led-data = <0x6d60>;
	};
};

&mdio1 {
	rgmii_phy1: phy@1 {
		compatible = "ethernet-phy-ieee802.3-c22";
		reg = <0x1>;
		clocks = <&cru REFCLKO25M_GMAC1_OUT>;
		realtek,led-data = <0x6d60>;
	};
};

&pinctrl {
	usb {
		usb_otg_pwren: usb-otg-pwren {
			rockchip,pins = <4 RK_PC4 RK_FUNC_GPIO &pcfg_pull_none>;
		};
	};
};

&sdhci {
	bus-width = <8>;
	full-pwr-cycle-in-suspend;
	max-frequency = <150000000>;
	mmc-hs400-1_8v;
	mmc-hs400-enhanced-strobe;
	/delete-property/ supports-cqe;
	no-sdio;
	no-sd;
	non-removable;
	status = "okay";
};

&sdmmc {
	bus-width = <4>;
	cap-mmc-highspeed;
	cap-sd-highspeed;
	disable-wp;
	max-frequency = <200000000>;
	no-sdio;
	no-mmc;
	sd-uhs-sdr104;
	vmmc-supply = <&vcc_3v3_s3>;
	vqmmc-supply = <&vccio_sd_s0>;
	status = "okay";
};

&uart0 {
	pinctrl-0 = <&uart0m0_xfer>;
	status = "okay";
};

&combphy0_ps {
	status = "okay";
};

&combphy1_psu {
	status = "okay";
};

&pcie0 {
	reset-gpios = <&gpio4 RK_PC7 0>;
	vpcie3v3-supply = <&vcc_3v3_pcie0>;
	status = "okay";
};

&u2phy0 {
	status = "okay";
};

&u2phy1 {
	status = "okay";
};

&usb_drd0_dwc3 {
	status = "okay";
	dr_mode = "host";
};

&usb_drd1_dwc3 {
	status = "okay";
	dr_mode = "host";
	maximum-speed = "high-speed";
};

&u2phy0_otg {
	status = "okay";
	phy-supply = <&vcc5v0_otg>;
};

&u2phy1_otg {
	status = "okay";
};

&usbdp_phy {
	status = "okay";
	rockchip,dp-lane-mux = <2 3>;
};

&spi1 {
	status = "okay";

	pinctrl-0 = <&spi1m2_csn0 &spi1m2_pins>;

	spidev@0 {
		compatible = "micron,spi-authenta";
		reg = <0>;
		spi-max-frequency = <6000000>; 
	};
};

&i2c8 {
	pinctrl-0 = <&i2c8m3_xfer>;
	status = "okay";
};

&uart2 {
	pinctrl-0 = <&uart2m2_xfer>;
	status = "okay";
};

&uart10 {
	pinctrl-0 = <&uart10m2_xfer>;
	status = "okay";
};

&vop {
	status = "okay";
};

&vop_mmu {
	status = "okay";
};

&vp0 {
	vp0_out_hdmi: endpoint@ROCKCHIP_VOP2_EP_HDMI0 {
		reg = <ROCKCHIP_VOP2_EP_HDMI0>;
		remote-endpoint = <&hdmi_in_vp0>;
	};
};

&hdptxphy {
	status = "okay";
};

&hdmi {
	enable-gpios = <&gpio4 RK_PA6 GPIO_ACTIVE_HIGH>;
	status = "okay";
};

&hdmi_in {
	hdmi_in_vp0: endpoint {
		remote-endpoint = <&vp0_out_hdmi>;
	};
};

&hdmi_out {
	hdmi_out_con: endpoint {
		remote-endpoint = <&hdmi_con_in>;
	};
};

&otp {
	bigcore_tsadc_trim_l: bigcore-tsadc-trim-l@24 {
		reg = <0x24 0x1>;
	};
	bigcore_tsadc_trim_h: bigcore-tsadc-trim-h@25 {
		reg = <0x25 0x1>;
		bits = <0 2>;
	};
	litcore_tsadc_trim_l: litcore-tsadc-trim-l@26 {
		reg = <0x26 0x1>;
	};
	litcore_tsadc_trim_h: litcore-tsadc-trim-h@27 {
		reg = <0x27 0x1>;
		bits = <0 2>;
	};
	ddr_tsadc_trim_l: ddr-tsadc-trim-l@28 {
		reg = <0x28 0x1>;
	};
	ddr_tsadc_trim_h: ddr-tsadc-trim-h@29 {
		reg = <0x29 0x1>;
		bits = <0 2>;
	};
	npu_tsadc_trim_l: npu-tsadc-trim-l@2a {
		reg = <0x2a 0x1>;
	};
	npu_tsadc_trim_h: npu-tsadc-trim-h@2b {
		reg = <0x2b 0x1>;
		bits = <0 2>;
	};
	gpu_tsadc_trim_l: gpu-tsadc-trim-l@2c {
		reg = <0x2c 0x1>;
	};
	gpu_tsadc_trim_h: gpu-tsadc-trim-h@2d {
		reg = <0x2d 0x1>;
		bits = <0 2>;
	};
	soc_tsadc_trim_l: soc-tsadc-trim-l@64 {
		reg = <0x64 0x1>;
	};
	soc_tsadc_trim_h: soc-tsadc-trim-h@65 {
		reg = <0x65 0x1>;
		bits = <0 2>;
	};
};
